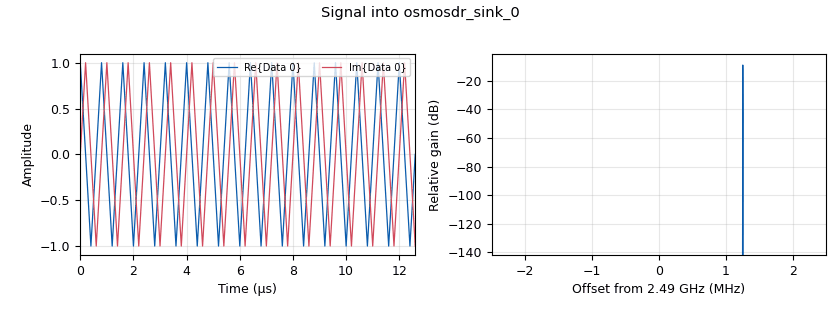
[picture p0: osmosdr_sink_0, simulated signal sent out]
<?xml version='1.0' encoding='utf-8'?>
<?grc format='1' created='3.7.10'?>
<flow_graph>
<block>
<key>options</key>
<param><key>id</key><value>top_block</value></param>
<param><key>generate_options</key><value>qt_gui</value></param>
</block>
<block>
<key>variable_qtgui_range</key>
<param><key>id</key><value>f</value></param>
<param><key>value</key><value>2.49e9</value></param>
<param><key>orient</key><value>Qt.Horizontal</value></param>
<param><key>start</key><value>2.48e9</value></param>
<param><key>step</key><value>1e3</value></param>
<param><key>stop</key><value>2.5e9</value></param>
</block>
<block>
<key>variable_qtgui_range</key>
<param><key>id</key><value>fc</value></param>
<param><key>value</key><value>samp_rate/4</value></param>
<param><key>orient</key><value>Qt.Horizontal</value></param>
<param><key>start</key><value>0</value></param>
<param><key>step</key><value>1e3</value></param>
<param><key>stop</key><value>samp_rate/2</value></param>
</block>
<block>
<key>variable</key>
<param><key>id</key><value>samp_rate</value></param>
<param><key>value</key><value>5e6</value></param>
</block>
<block>
<key>analog_noise_source_x</key>
<param><key>id</key><value>analog_noise_source_x_0</value></param>
<param><key>amp</key><value>1</value></param>
<param><key>_enabled</key><value>0</value></param>
<param><key>noise_type</key><value>analog.GR_GAUSSIAN</value></param>
<param><key>type</key><value>complex</value></param>
<param><key>seed</key><value>1</value></param>
</block>
<block>
<key>analog_sig_source_x</key>
<param><key>id</key><value>analog_sig_source_x_0</value></param>
<param><key>amp</key><value>1</value></param>
<param><key>freq</key><value>fc</value></param>
<param><key>offset</key><value>0</value></param>
<param><key>type</key><value>complex</value></param>
<param><key>samp_rate</key><value>samp_rate</value></param>
<param><key>waveform</key><value>analog.GR_COS_WAVE</value></param>
</block>
<block>
<key>fosphor_qt_sink_c</key>
<param><key>id</key><value>fosphor_qt_sink_c_0</value></param>
<param><key>freq_center</key><value>800e6</value></param>
<param><key>freq_span</key><value>samp_rate</value></param>
</block>
<block>
<key>osmosdr_sink</key>
<param><key>id</key><value>osmosdr_sink_0</value></param>
<param><key>bb_gain0</key><value>20</value></param>
<param><key>freq0</key><value>f</value></param>
<param><key>if_gain0</key><value>20</value></param>
<param><key>gain0</key><value>50</value></param>
<param><key>args</key><value></value></param>
<param><key>type</key><value>fc32</value></param>
<param><key>sample_rate</key><value>samp_rate</value></param>
<param><key>sync</key><value></value></param>
</block>
<block>
<key>osmosdr_source</key>
<param><key>id</key><value>osmosdr_source_0</value></param>
<param><key>bb_gain0</key><value>20</value></param>
<param><key>dc_offset_mode0</key><value>2</value></param>
<param><key>freq0</key><value>800e6</value></param>
<param><key>gain_mode0</key><value>False</value></param>
<param><key>if_gain0</key><value>20</value></param>
<param><key>gain0</key><value>10</value></param>
<param><key>args</key><value></value></param>
<param><key>type</key><value>fc32</value></param>
<param><key>sample_rate</key><value>8e6</value></param>
<param><key>sync</key><value></value></param>
</block>
<connection><source_block_id>analog_noise_source_x_0</source_block_id><sink_block_id>osmosdr_sink_0</sink_block_id><source_key>0</source_key><sink_key>0</sink_key></connection>
<connection><source_block_id>analog_sig_source_x_0</source_block_id><sink_block_id>osmosdr_sink_0</sink_block_id><source_key>0</source_key><sink_key>0</sink_key></connection>
<connection><source_block_id>osmosdr_source_0</source_block_id><sink_block_id>fosphor_qt_sink_c_0</sink_block_id><source_key>0</source_key><sink_key>0</sink_key></connection>
</flow_graph>
